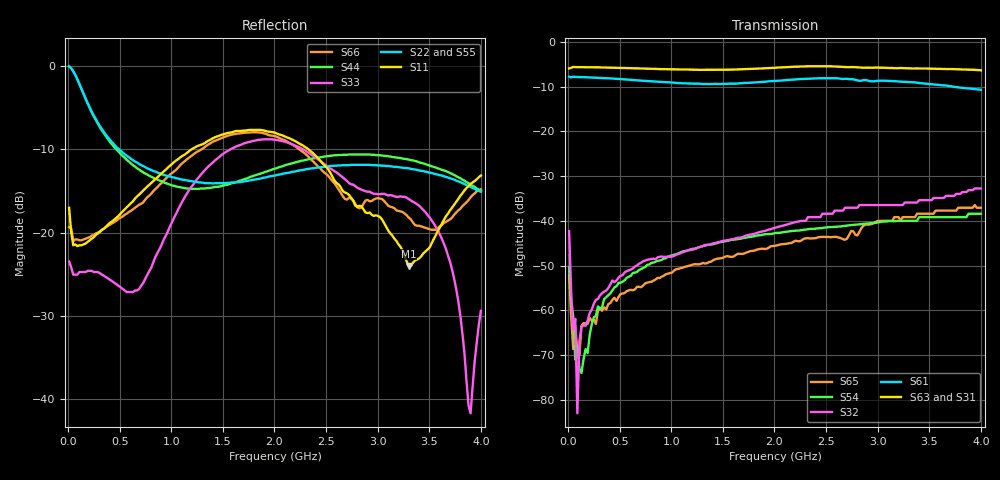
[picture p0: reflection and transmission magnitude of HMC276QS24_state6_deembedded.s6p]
! Hittite Microwave Corporation
! 20 Alpha Road
! Chelmsford, MA 01824
! Tel: 978-250-3343
! Fax: 978-250-3373
! Device: HMC276QS24, 0.7-3.0 GHz, GaAS MMIC 4x2 Switch Matrix in 24-lead QSOP package
! Misc: Data was de-embedded to package pins.
!  Port 1 = OP1
!  Port 2 = VL
!  Port 3 = VH
!  Port 4 = HH
!  Port 5 = HL
!  Port 6 = OP2
!  Vdd = +5 V
!  Vctl = 0 V[Logic 0] / +5 V[Logic 1]
!  State 06,  VH to OP1,  VH to OP2
!  Control Lines (Logic)
!  HV 1 = 0, Tone 1 = 1
!  HV 2 = 0, Tone 2 = 1
!  Data reformated to new Touchstone file format - Wed Jan 10 15:12:41 2007
# MHz S DB R 50
! 6 Port Network Data
! freq  dbS11  angS11  dbS12  angS12  dbS13  angS13  dbS14  angS14
!  dbS15  angS15  dbS16  angS16
!  dbS21  angS21  dbS22  angS22
!  dbS23  angS23  dbS24  angS24  dbS25  angS25  dbS26  angS26
!  dbS31  angS31  dbS32  angS32  dbS33  angS33  dbS34  angS34
!  dbS35  angS35  dbS36  angS36
!  dbS41  angS41  dbS42  angS42
!  dbS43  angS43  dbS44  angS44  dbS45  angS45  dbS46  angS46
!  dbS51  angS51  dbS52  angS52  dbS53  angS53  dbS54  angS54
!  dbS55  angS55  dbS56  angS56
!  dbS61  angS61  dbS62  angS62
!  dbS63  angS63  dbS64  angS64  dbS65  angS65  dbS66  angS66
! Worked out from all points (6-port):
!   201 points, 10 MHz to 4 GHz, reference 50 ohm
!   strongest paths, dB at 10 MHz, 1.008 GHz, 2.005 GHz, 3.002 GHz, 4 GHz:
!     S63: -5.9, -6.1, -5.8, -5.7, -6.3
!     S31: -6.0, -6.4, -6.0, -5.8, -6.4
!     S61: -7.8, -9.1, -8.8, -8.7, -10.7
!     S32: -42.3, -48.0, -41.5, -36.5, -32.8
!     S54: -50.3, -47.7, -42.7, -40.4, -38.4
!     S65: -52.3, -51.6, -45.6, -40.0, -37.1
!   lowest |S11| = -24.0 dB at 3.302 GHz (marker M1), VSWR 1.13, Z = 54 + j5.17 ohm
!   |S11| at or under -10 dB: start of sweep to 1.198 GHz; 2.329 GHz to end of sweep
